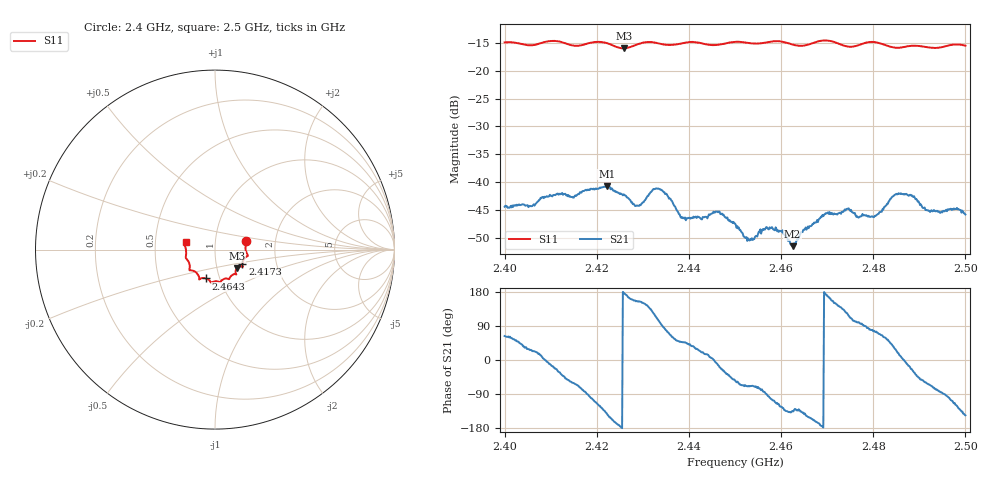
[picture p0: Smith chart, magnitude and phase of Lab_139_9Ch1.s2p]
# Hz S RI R 50
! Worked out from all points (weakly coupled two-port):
!   601 points, 2.4 GHz to 2.5 GHz, reference 50 ohm
!   highest |S21| = -40.72 dB at 2.4222 GHz (marker M1); lowest = -51.6 dB at 2.4625 GHz (marker M2)
!   lowest |S11| = -15.9 dB at 2.4258 GHz (marker M3), VSWR 1.38, Z = 62.3 - j13.3 ohm
!   |S11| at or under -10 dB: start of sweep to end of sweep
!   S12 and S22 are empty: the file has one direction only
!   S11 on the Smith chart (normalised r, x): 2.4 GHz: 1.41, +0.14; 2.4173 GHz: 1.34, -0.23; 2.4643 GHz: 0.86, -0.29; 2.5 GHz: 0.72, +0.06
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2.4e9  0.1739 0.0493  0.0027 0.00535  0 0  0 0
2.416667e9  0.1534 -0.0744  0.00199 -0.00777  0 0  0 0
2.417333e9  0.1527 -0.0819  0.00103 -0.00829  0 0  0 0
2.422167e9  0.1509 -0.0949  -0.00716 -0.00577  0 0  0 0
2.425833e9  0.1216 -0.1037  -0.00774 0.000327  0 0  0 0
2.429e9  0.1153 -0.1312  -0.00549 0.00267  0 0  0 0
2.433333e9  0.1132 -0.1364  -0.0023 0.00843  0 0  0 0
2.438833e9  0.0812 -0.1589  0.00327 0.00348  0 0  0 0
2.446167e9  0.0463 -0.1654  0.00532 -0.000989  0 0  0 0
2.45e9  0.0294 -0.1808  0.0025 -0.0034  0 0  0 0
2.452667e9  0.0194 -0.1781  0.00106 -0.00275  0 0  0 0
2.458e9  -0.0182 -0.1829  -0.000973 -0.0038  0 0  0 0
2.4625e9  -0.0328 -0.1699  -0.00187 -0.00187  0 0  0 0
2.464333e9  -0.0499 -0.1608  -0.00253 -0.00248  0 0  0 0
2.466667e9  -0.076 -0.1597  -0.0037 -0.00168  0 0  0 0
2.47e9  -0.0876 -0.1662  -0.00516 0.000978  0 0  0 0
2.474333e9  -0.1001 -0.1326  -0.00316 0.00479  0 0  0 0
2.480333e9  -0.1429 -0.1126  0.00128 0.00478  0 0  0 0
2.483333e9  -0.1408 -0.0902  0.00424 0.0051  0 0  0 0
2.487e9  -0.1555 -0.0565  0.00771 -0.000719  0 0  0 0
2.491833e9  -0.1611 -0.0269  0.00254 -0.00495  0 0  0 0
2.5e9  -0.1636 0.0418  -0.00423 -0.00285  0 0  0 0
